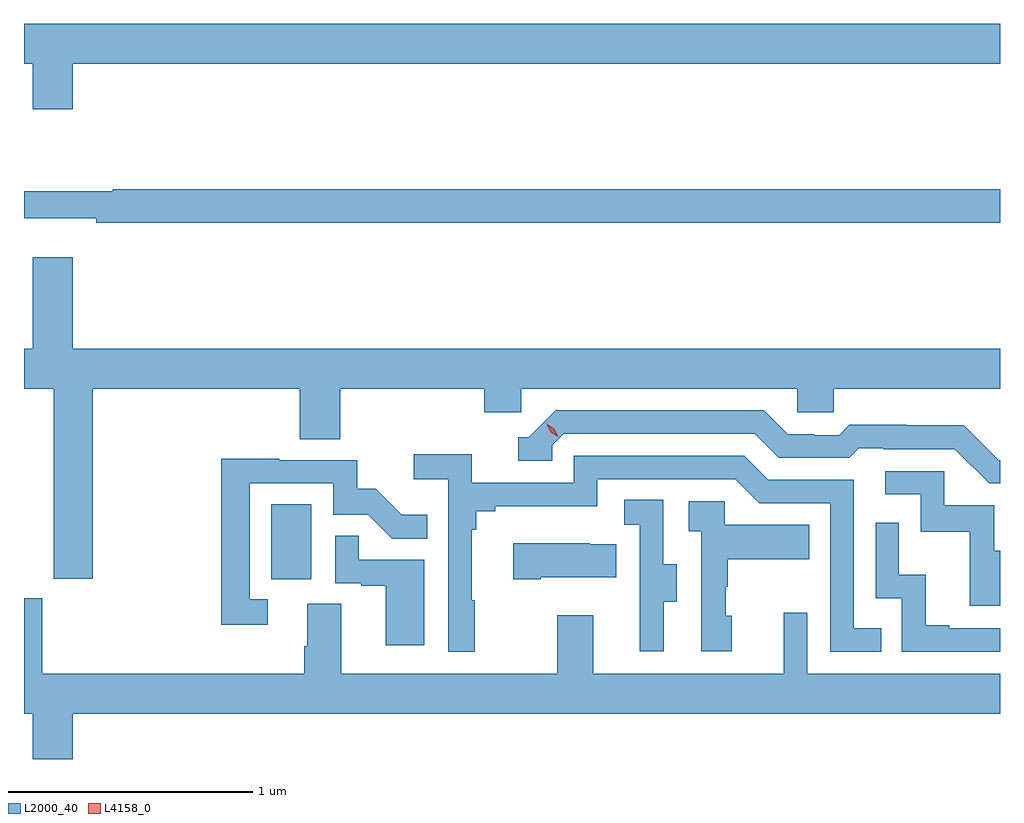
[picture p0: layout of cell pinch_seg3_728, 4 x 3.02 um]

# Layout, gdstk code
import gdstk
lib = gdstk.Library(unit=1e-6, precision=1e-09)
def R(c, l, rs):  # rectangles x0, y0, x1, y1
    for r in rs: c.add(gdstk.rectangle(r[:2], r[2:], *l))
def P(c, l, *ps):  # polygons
    for p in ps: c.add(gdstk.Polygon(p, *l))
L2000_40 = (2000, 40)
L4158_0 = (4158, 0)

pinch_seg3_728 = lib.new_cell('pinch_seg3_728')
R(pinch_seg3_728, L2000_40, [(885.266,740.094,885.43,740.401)])
P(pinch_seg3_728, L2000_40, [(884.452,742.208),(888.252,742.208),(888.252,742.372),(884.252,742.372),(884.252,742.208),(884.288,742.208),(884.288,742.02),(884.452,742.02)],
  [(888.252,741.692),(884.615,741.692),(884.615,741.685),(884.252,741.685),(884.252,741.575),(884.548,741.575),(884.548,741.556),(888.252,741.556)],
  [(884.534,740.876),(885.383,740.876),(885.383,740.668),(885.548,740.668),(885.548,740.876),(886.139,740.876),(886.139,740.778),(886.29,740.778),(886.29,740.876),(887.421,740.876),(887.421,740.778),(887.571,740.778),(887.571,740.876),(888.252,740.876),(888.252,741.04),(884.452,741.04),(884.452,741.415),(884.288,741.415),(884.288,741.04),(884.252,741.04),(884.252,740.876),(884.374,740.876),(884.374,740.097),(884.534,740.097)],
  [(888.252,740.583),(888.246,740.583),(888.104,740.725),(887.868,740.725),(887.868,740.728),(887.635,740.728),(887.593,740.685),(887.49,740.685),(887.49,740.688),(887.383,740.688),(887.284,740.787),(886.431,740.787),(886.32,740.676),(886.277,740.676),(886.277,740.58),(886.416,740.58),(886.416,740.643),(886.464,740.691),(887.247,740.691),(887.346,740.592),(887.635,740.592),(887.674,740.631),(887.773,740.631),(887.773,740.628),(888.066,740.628),(888.207,740.487),(888.252,740.487)],
  [(886.099,740.009),(886.087,740.009),(886.087,740.297),(886.106,740.297),(886.106,740.374),(886.183,740.374),(886.183,740.393),(886.602,740.393),(886.602,740.505),(887.166,740.505),(887.265,740.406),(887.556,740.406),(887.556,739.797),(887.765,739.797),(887.765,739.893),(887.652,739.893),(887.652,740.502),(887.302,740.502),(887.203,740.601),(886.506,740.601),(886.506,740.49),(886.088,740.49),(886.088,740.606),(885.849,740.606),(885.849,740.504),(885.99,740.504),(885.99,739.797),(886.099,739.797)],
  [(885.25,740.013),(885.177,740.013),(885.177,740.487),(885.519,740.487),(885.519,740.358),(885.663,740.358),(885.761,740.26),(885.905,740.26),(885.905,740.359),(885.801,740.359),(885.694,740.466),(885.618,740.466),(885.618,740.583),(885.299,740.583),(885.299,740.588),(885.061,740.588),(885.061,739.908),(885.25,739.908)],
  [(888.252,740.211),(888.229,740.211),(888.229,740.397),(888.024,740.397),(888.024,740.538),(887.781,740.538),(887.781,740.442),(887.928,740.442),(887.928,740.289),(888.127,740.289),(888.127,739.986),(888.252,739.986)],
  [(886.873,740.002),(886.927,740.002),(886.927,740.157),(886.872,740.157),(886.872,740.42),(886.713,740.42),(886.713,740.317),(886.776,740.317),(886.776,740.013),(886.775,740.013),(886.775,739.8),(886.873,739.8)],
  [(887.152,739.944),(887.127,739.944),(887.127,740.063),(887.137,740.063),(887.137,740.177),(887.471,740.177),(887.471,740.317),(887.124,740.317),(887.124,740.415),(886.977,740.415),(886.977,740.291),(887.028,740.291),(887.028,739.8),(887.152,739.8)],
  [(888.252,739.893),(888.043,739.893),(888.043,739.906),(887.948,739.906),(887.948,740.114),(887.838,740.114),(887.838,740.326),(887.742,740.326),(887.742,740.016),(887.85,740.016),(887.85,739.797),(888.252,739.797)],
  [(885.892,740.175),(885.623,740.175),(885.623,740.273),(885.528,740.273),(885.528,740.079),(885.635,740.079),(885.635,740.067),(885.734,740.067),(885.734,739.824),(885.892,739.824)],
  [(886.369,740.102),(886.679,740.102),(886.679,740.239),(886.571,740.239),(886.571,740.242),(886.257,740.242),(886.257,740.095),(886.369,740.095)],
  [(884.326,740.017),(884.252,740.017),(884.252,739.544),(884.288,739.544),(884.288,739.356),(884.452,739.356),(884.452,739.544),(888.252,739.544),(888.252,739.708),(887.463,739.708),(887.463,739.957),(887.366,739.957),(887.366,739.708),(886.585,739.708),(886.585,739.948),(886.438,739.948),(886.438,739.708),(885.553,739.708),(885.553,739.994),(885.413,739.994),(885.413,739.82),(885.401,739.82),(885.401,739.708),(884.326,739.708)])
P(pinch_seg3_728, L4158_0, [(886.441,740.678),(886.41,740.698),(886.395,740.731),(886.395,740.731),(886.395,740.731),(886.426,740.711),(886.441,740.678),(886.441,740.678)])

lib.write_gds('pinch_seg3_728.gds')
